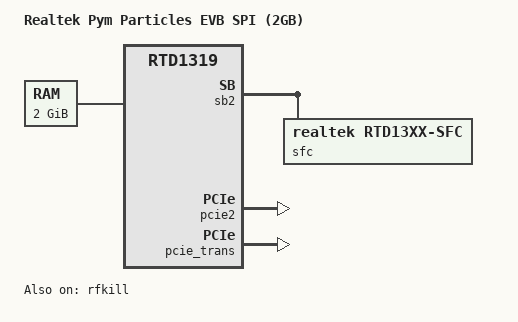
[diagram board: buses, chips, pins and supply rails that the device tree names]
// SPDX-License-Identifier: (GPL-2.0-or-later OR BSD-2-Clause)
/*
 * Copyright (c) 2019-2020 Realtek Semiconductor Corp.
 */

/dts-v1/;

#include "rtd1319-pymparticles.dtsi"

/ {
	compatible = "realtek,pym-particles-spi", "realtek,rtd1319";
	model = "Realtek Pym Particles EVB SPI (2GB)";

	memory@40000 {
		device_type = "memory";
		reg = <0x00040000 0x7ffc0000>; /* 2 GiB */
	};

	aliases {
		ethernet = &nic;
		serial0 = &uart0;
		serial1 = &uart1;
		serial2 = &uart2;
		rtc0 = &rtc;
	};

	/delete-node/tee-clock;
};

&emmc {
	status = "disabled";
};

&sb2 {
	sfc: sfc@800 {
		compatible = "realtek,rtd13xx-sfc";
		reg = <0x800 0x50>;
		#address-cells = <1>;
		#size-cells = <0>;
		status = "okay";

		flash@0 {
		compatible = "jedec,spi-nor";
		spi-rx-bus-width = <2>;
		spi-tx-bus-width = <2>;
		reg = <0>;
		spi-max-frequency = <40000000>;
		};
	};
};

&tp {
	status = "disabled";
};

&nic {
	output-mode = <2>; /* 0:embedded PHY, 1:RGMII to MAC, 2:RGMII to PHY, 5:RMII */
};

&cpu0 {
	clocks = <&cc RTD1319_CRT_PLL_SCPU>;
};

&cpu1 {
	clocks = <&cc RTD1319_CRT_PLL_SCPU>;
};

&cpu2 {
	clocks = <&cc RTD1319_CRT_PLL_SCPU>;
};

&cpu3 {
	clocks = <&cc RTD1319_CRT_PLL_SCPU>;
};

&pcie {
	status = "disabled";
};

&pcie1 {
	perst-gpios = <&gpio 2 GPIO_ACTIVE_HIGH>;
	status = "disabled";
};

&pcie2 {
	perst-gpios = <&gpio 3 GPIO_ACTIVE_HIGH>;
	workaround = <1>;
	status = "okay";
};

&pcie_trans {
	status = "okay";
};

&sata_port0 {
	sata-gpios = <&gpio 2 GPIO_ACTIVE_HIGH>;
};

&sata_port1 {
	sata-gpios = <&gpio 3 GPIO_ACTIVE_HIGH>;
};

&rfkill {
	status = "okay";
};
